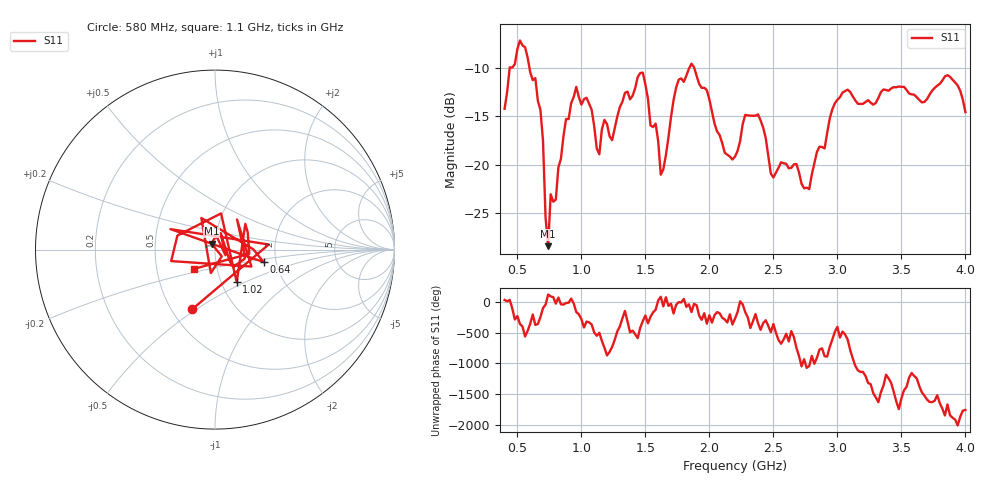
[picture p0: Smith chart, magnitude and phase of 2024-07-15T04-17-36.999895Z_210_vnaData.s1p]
!Created with skrf (http://scikit-rf.org).
# Hz S RI R 50.0
!freq ReS11 ImS11
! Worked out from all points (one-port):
!   181 points, 400 MHz to 4 GHz, reference 50 ohm
!   lowest |S11| = -28.4 dB at 740 MHz (marker M1), VSWR 1.08, Z = 48.1 + j3.17 ohm
!   |S11| at or under -10 dB: start of sweep to 439.6 MHz; 594.2 MHz to 1.843 GHz (1.249 GHz wide, 102 % of centre); 1.882 GHz to end of sweep
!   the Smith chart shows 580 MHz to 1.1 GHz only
!   S11 on the Smith chart (normalised r, x): 580 MHz: 0.63, -0.48; 640 MHz: 1.72, -0.26; 1.02 GHz: 1.18, -0.45; 1.1 GHz: 0.78, -0.17
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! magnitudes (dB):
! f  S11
! 400 MHz  -14.2
! 520 MHz  -7.2
! 580 MHz  -8.9
! 640 MHz  -11.0
! 700 MHz  -17.5
! 740 MHz  -28.4
! 760 MHz  -23.1
! 800 MHz  -23.6
! 860 MHz  -17.0
! 960 MHz  -12.0
! 1.02 GHz  -13.2
! 1.1 GHz  -16.0
! 1.14 GHz  -18.9
! 1.3 GHz  -14.1
! 1.48 GHz  -10.5
! 1.62 GHz  -21.0
! 1.76 GHz  -11.2
! 1.86 GHz  -9.6
! 2.2 GHz  -19.2
! 2.38 GHz  -14.8
! 2.5 GHz  -21.3
! 2.66 GHz  -20.0
! 2.78 GHz  -22.5
! 2.98 GHz  -13.7
! 3.1 GHz  -12.5
! 3.56 GHz  -12.6
! 3.86 GHz  -10.8
! 4 GHz  -14.6
